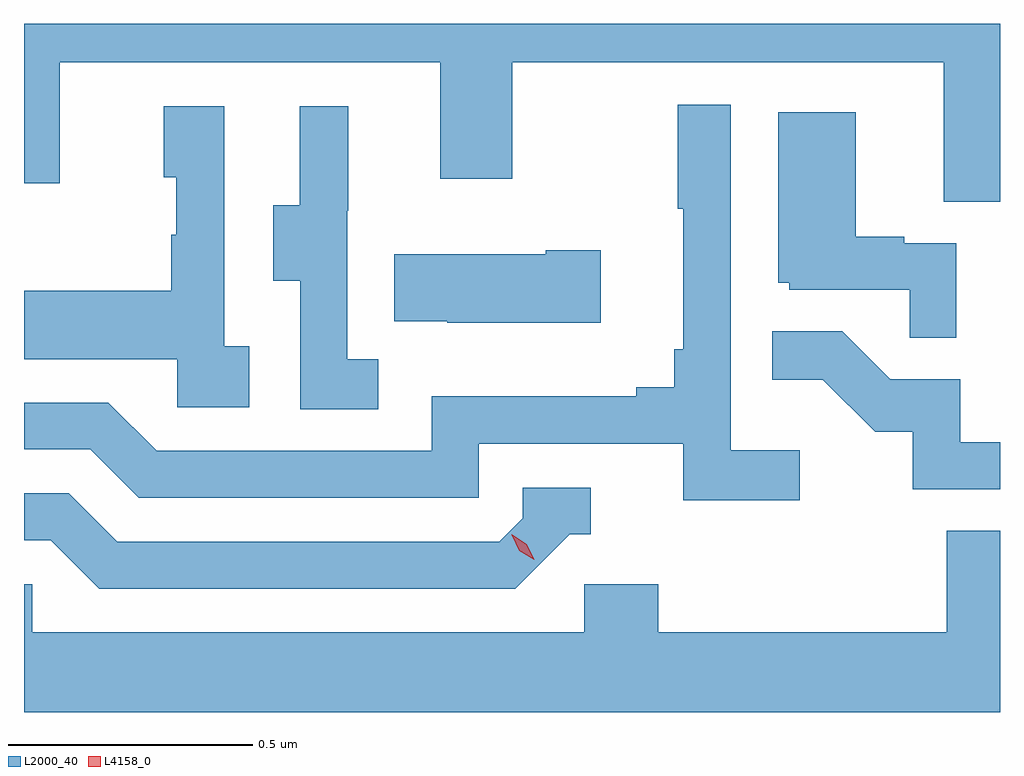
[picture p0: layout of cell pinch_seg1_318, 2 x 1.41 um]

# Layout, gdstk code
import gdstk
lib = gdstk.Library(unit=1e-6, precision=1e-09)
def P(c, l, *ps):  # polygons
    for p in ps: c.add(gdstk.Polygon(p, *l))
L2000_40 = (2000, 40)
L4158_0 = (4158, 0)

pinch_seg1_318 = lib.new_cell('pinch_seg1_318')
P(pinch_seg1_318, L2000_40, [(899.952,553.142),(897.952,553.142),(897.952,552.816),(898.025,552.816),(898.025,553.064),(898.805,553.064),(898.805,552.825),(898.953,552.825),(898.953,553.064),(899.837,553.064),(899.837,552.778),(899.952,552.778)],
  [(899.542,552.268),(899.4,552.268),(899.4,552.976),(899.292,552.976),(899.292,552.763),(899.303,552.763),(899.303,552.475),(899.284,552.475),(899.284,552.398),(899.207,552.398),(899.207,552.379),(898.788,552.379),(898.788,552.267),(898.224,552.267),(898.125,552.366),(897.952,552.366),(897.952,552.27),(898.088,552.27),(898.187,552.171),(898.884,552.171),(898.884,552.282),(899.303,552.282),(899.303,552.166),(899.542,552.166)],
  [(898.414,552.482),(898.362,552.482),(898.362,552.973),(898.238,552.973),(898.238,552.828),(898.264,552.828),(898.264,552.71),(898.254,552.71),(898.254,552.595),(897.952,552.595),(897.952,552.455),(898.266,552.455),(898.266,552.357),(898.414,552.357)],
  [(898.678,552.455),(898.614,552.455),(898.614,552.759),(898.616,552.759),(898.616,552.973),(898.517,552.973),(898.517,552.771),(898.463,552.771),(898.463,552.616),(898.518,552.616),(898.518,552.352),(898.678,552.352)],
  [(899.862,552.693),(899.756,552.693),(899.756,552.706),(899.656,552.706),(899.656,552.961),(899.498,552.961),(899.498,552.612),(899.52,552.612),(899.52,552.597),(899.767,552.597),(899.767,552.499),(899.862,552.499)],
  [(899.134,552.678),(899.021,552.678),(899.021,552.67),(898.711,552.67),(898.711,552.533),(898.819,552.533),(898.819,552.53),(899.134,552.53)],
  [(899.952,552.285),(899.871,552.285),(899.871,552.414),(899.727,552.414),(899.629,552.512),(899.485,552.512),(899.485,552.413),(899.589,552.413),(899.696,552.306),(899.773,552.306),(899.773,552.189),(899.952,552.189)],
  [(899.07,552.096),(899.113,552.096),(899.113,552.192),(898.974,552.192),(898.974,552.129),(898.926,552.081),(898.143,552.081),(898.044,552.18),(897.952,552.18),(897.952,552.084),(898.007,552.084),(898.106,551.985),(898.959,551.985)],
  [(899.952,552.104),(899.843,552.104),(899.843,551.896),(899.252,551.896),(899.252,551.994),(899.1,551.994),(899.1,551.896),(897.969,551.896),(897.969,551.994),(897.952,551.994),(897.952,551.732),(899.952,551.732)])
P(pinch_seg1_318, L4158_0, [(898.998,552.044),(898.967,552.063),(898.951,552.095),(898.951,552.096),(898.951,552.096),(898.982,552.076),(898.998,552.044),(898.998,552.044)])

lib.write_gds('pinch_seg1_318.gds')
